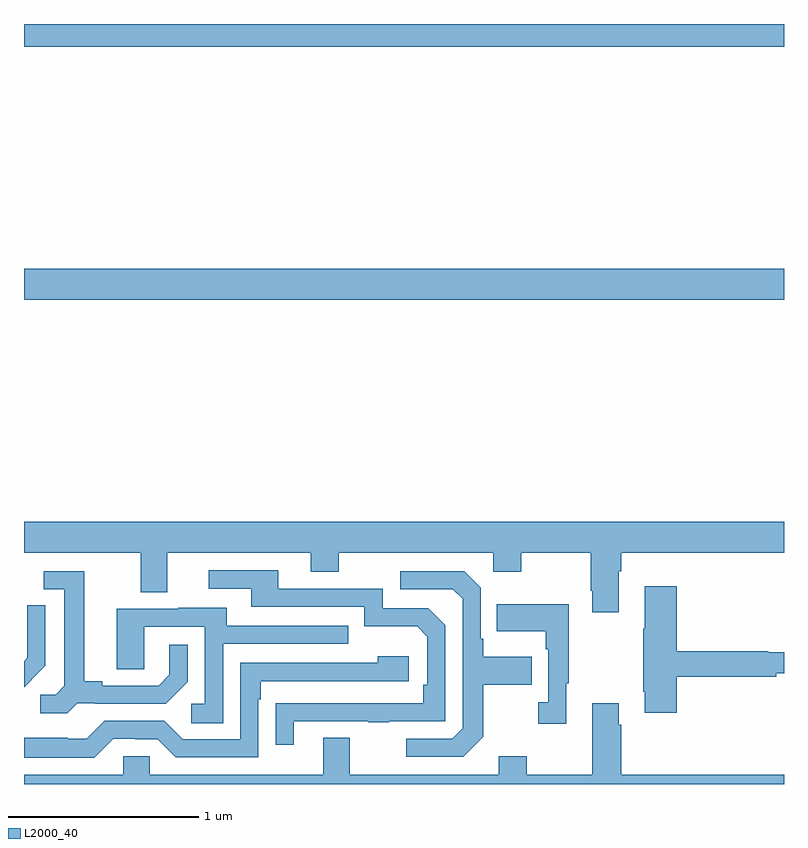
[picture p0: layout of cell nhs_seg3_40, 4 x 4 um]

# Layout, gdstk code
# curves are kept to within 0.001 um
import gdstk
lib = gdstk.Library(unit=1e-6, precision=1e-09)
def R(c, l, rs):  # rectangles x0, y0, x1, y1
    for r in rs: c.add(gdstk.rectangle(r[:2], r[2:], *l))
def P(c, l, *ps):  # polygons
    for p in ps: c.add(gdstk.Polygon(p, *l))
L2000_40 = (2000, 40)

nhs_seg3_40 = lib.new_cell('nhs_seg3_40')
R(nhs_seg3_40, L2000_40, [(113,668.948,117,669.112), (113,670.28,117,670.4)])
P(nhs_seg3_40, L2000_40, [(116.131,667.52),(116.144,667.52),(116.144,667.616),(117,667.616),(117,667.78),(113,667.78),(113,667.616),(113.615,667.616),(113.615,667.408),(113.755,667.408),(113.755,667.616),(114.509,667.616),(114.509,667.517),(114.657,667.517),(114.657,667.616),(115.47,667.616),(115.47,667.517),(115.617,667.517),(115.617,667.616),(115.984,667.616),(115.984,667.417),(115.991,667.417),(115.991,667.305),(116.131,667.305)],
  [(114.421,666.729),(114.811,666.729),(114.811,666.724),(114.923,666.724),(114.923,666.729),(115.218,666.729),(115.218,667.236),(115.128,667.326),(114.888,667.326),(114.888,667.428),(114.337,667.428),(114.337,667.524),(113.973,667.524),(113.973,667.428),(114.197,667.428),(114.197,667.332),(114.792,667.332),(114.792,667.229),(115.069,667.229),(115.122,667.176),(115.122,666.922),(115.102,666.922),(115.102,666.825),(114.325,666.824),(114.325,666.606),(114.421,666.606)],
  [(113.28,666.825),(113.374,666.825),(113.374,666.822),(113.746,666.822),(113.862,666.938),(113.862,667.132),(113.765,667.132),(113.765,666.975),(113.708,666.918),(113.413,666.918),(113.413,666.941),(113.317,666.941),(113.317,667.521),(113.103,667.521),(113.103,667.425),(113.213,667.425),(113.213,666.917),(113.166,666.87),(113.085,666.87),(113.085,666.773),(113.228,666.773)],
  [(115.417,666.649),(115.417,666.922),(115.673,666.922),(115.673,667.069),(115.417,667.069),(115.417,667.165),(115.404,667.165),(115.404,667.434),(115.317,667.521),(114.981,667.521),(114.981,667.425),(115.257,667.425),(115.308,667.374),(115.308,666.693),(115.254,666.639),(115.011,666.639),(115.011,666.543),(115.311,666.543)],
  [(116.435,666.964),(116.96,666.964),(116.96,666.983),(117,666.983),(117,667.093),(116.918,667.093),(116.918,667.1),(116.435,667.1),(116.435,667.441),(116.267,667.441),(116.267,667.217),(116.26,667.217),(116.26,666.886),(116.267,666.886),(116.267,666.774),(116.435,666.774)],
  [(115.855,666.929),(115.867,666.929),(115.867,667.345),(115.489,667.345),(115.489,667.205),(115.746,667.205),(115.746,667.109),(115.758,667.109),(115.758,666.83),(115.707,666.83),(115.707,666.717),(115.855,666.717)],
  [(113.04,666.948),(113.039,666.949),(113.112,667.022),(113.112,667.34),(113.016,667.34),(113.016,667.186),(113.018,667.186),(113.018,667.064),(113,667.046),(113,666.908)],
  [(114.048,667.137),(114.707,667.137),(114.707,667.233),(114.067,667.233),(114.067,667.327),(113.813,667.327),(113.813,667.323),(113.489,667.323),(113.489,667.003),(113.634,667.003),(113.634,667.227),(113.952,667.227),(113.952,666.822),(113.88,666.822),(113.88,666.721),(114.048,666.721)],
  [(113.469,666.639),(113.585,666.639),(113.585,666.636),(113.703,666.636),(113.799,666.54),(114.234,666.54),(114.234,666.845),(114.247,666.845),(114.247,666.942),(115.024,666.942),(115.024,667.072),(114.863,667.072),(114.863,667.038),(114.138,667.038),(114.138,666.636),(113.835,666.636),(113.739,666.732),(113.424,666.732),(113.331,666.639),(113.231,666.639),(113.231,666.643),(113,666.643),(113,666.539),(113.369,666.539)],
  [(117,666.448),(116.144,666.448),(116.144,666.713),(116.131,666.713),(116.131,666.826),(115.991,666.826),(115.991,666.448),(115.647,666.448),(115.647,666.547),(115.499,666.547),(115.499,666.448),(114.715,666.448),(114.715,666.643),(114.575,666.643),(114.575,666.448),(113.661,666.448),(113.661,666.546),(113.523,666.546),(113.523,666.448),(113,666.448),(113,666.4),(117,666.4)])

lib.write_gds('nhs_seg3_40.gds')
